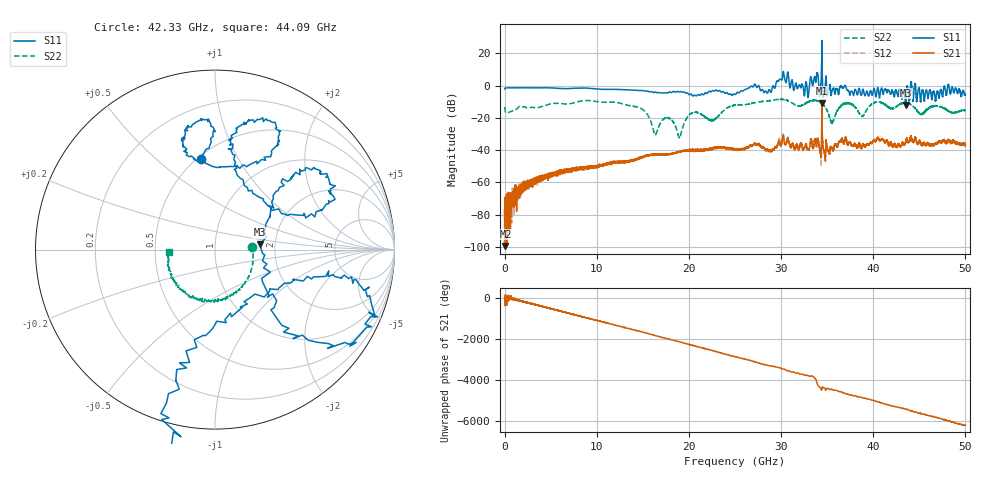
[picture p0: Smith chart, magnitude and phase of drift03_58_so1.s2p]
!Created with skrf (http://scikit-rf.org).
# Hz S RI R 50.0
!freq ReS11 ImS11 ReS21 ImS21 ReS12 ImS12 ReS22 ImS22
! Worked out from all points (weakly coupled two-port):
!   10000 points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, 5.3 MHz to 50 GHz, reference 50 ohm
!   highest |S21| = -11.08 dB at 34.43 GHz (marker M1); lowest = -99.3 dB at 90.3 MHz (marker M2)
!   lowest |S11| = -12.0 dB at 43.52 GHz (marker M3), VSWR 1.67, Z = 83 + j5.14 ohm
!   |S11| at or under -10 dB: 43.48503 GHz to 43.54319 GHz (58.16 MHz wide, 0.134 % of centre); 43.54807 GHz to 43.55337 GHz (5.299 MHz wide, 0.0122 % of centre); 44.70956 GHz to 44.71072 GHz (1.164 MHz wide, 0.0026 % of centre) (the widest 3 of 5)
!   |S22| runs from -32.4 to -8.4 dB; largest |S21 - S12| = 0.087
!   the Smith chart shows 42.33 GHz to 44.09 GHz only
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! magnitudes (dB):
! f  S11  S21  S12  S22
! 5.3 MHz  -2.1  -77.2  -99.3  -13.3
! 90.3 MHz  -1.5  -99.3  -84.6  -16.1
! 2.31 GHz  -1.3  -61.1  -60.9  -13.6
! 8.34 GHz  -1.5  -51.3  -51.4  -9.5
! 14.57 GHz  -3.1  -45.1  -45.2  -13.6
! 16.67 GHz  -4.4  -43.1  -42.6  -26.3
! 17.79 GHz  -4.3  -42.2  -42.3  -20.1
! 19 GHz  -3.9  -41.2  -41.0  -32.3
! 20.3 GHz  -5.6  -39.7  -40.0  -17.1
! 22.56 GHz  -3.1  -39.0  -39.0  -21.5
! 25.01 GHz  -5.5  -39.8  -39.8  -12.2
! 28.72 GHz  -2.5  -40.2  -40.3  -9.4
! 30.14 GHz  4.5  -33.6  -33.9  -8.5
! 32.74 GHz  2.1  -36.8  -36.6  -10.6
! 33.34 GHz  2.7  -34.8  -35.3  -9.3
! 34.43 GHz  28.0  -11.1  -13.1  -10.9
! 35.54 GHz  -3.1  -38.7  -38.9  -22.8
! 36.94 GHz  0.1  -33.1  -33.6  -11.0
! 38.78 GHz  -4.9  -37.8  -38.2  -19.1
! 41.67 GHz  -2.9  -36.9  -36.8  -13.5
! 43.52 GHz  -12.0  -35.3  -35.0  -10.9
! 50 GHz  -5.3  -36.8  -36.6  -15.6
